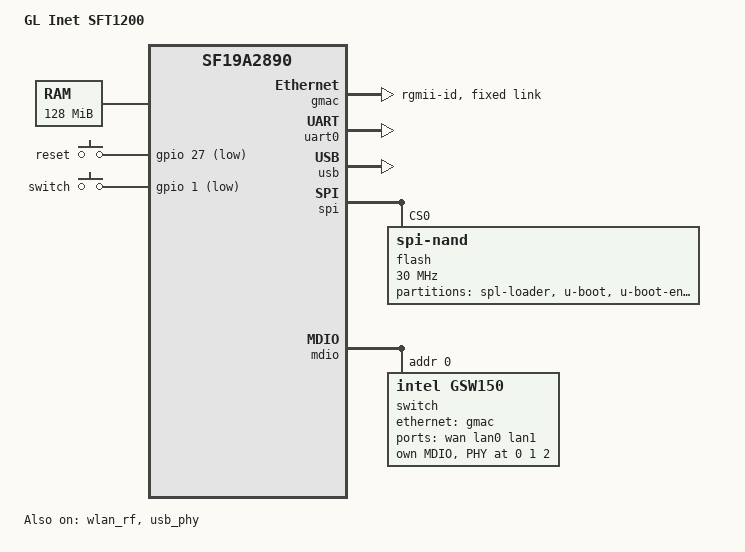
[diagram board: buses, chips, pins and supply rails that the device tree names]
/dts-v1/;
#include <dt-bindings/input/input.h>
#include <dt-bindings/leds/common.h>
#include "sf19a2890.dtsi"

/ {
	model = "GL Inet SFT1200";
	compatible = "glinet,sft1200", "siflower,sf19a2890";

	chosen {
		stdout-path = "serial0:115200n8";
	};

	memory@0 {
		device_type = "memory";
		reg = <0x0 0x8000000>;
	};

	keys {
		compatible = "gpio-keys";

		reset {
			label = "reset";
			gpios = <&gpio 27 GPIO_ACTIVE_LOW>;
			linux,code = <KEY_RESTART>;
		};

		switch {
			label = "switch";
			gpios = <&gpio 1 GPIO_ACTIVE_LOW>;
		};
	};
};

&gmac {
	nvmem-cells = <&macaddr_factory_0 1>;
	nvmem-cell-names = "mac-address";

	status = "okay";
	phy-mode = "rgmii-id";
	snps,ps-speed = <1000>;
	fixed-link {
		speed = <1000>;
		full-duplex;
		pause;
	};
};

&wlan_rf {
	status = "okay";
};

&uart0 {
	status = "okay";
};

&usb {
	status = "okay";
};

&usb_phy {
	status = "okay";
};

&spi {
	status = "okay";
	flash@0 {
		compatible = "jedec,spi-nand";
		reg = <0>;
		spi-max-frequency = <30000000>;

		#address-cells = <1>;
		#size-cells = <1>;

		partitions {
			compatible = "fixed-partitions";
			#address-cells = <1>;
			#size-cells = <1>;

			partition@0 {
				label = "spl-loader";
				reg = <0x0 0x20000>; /* 128k */
				read-only;
			};

			partition@20000 {
				label = "u-boot";
				reg = <0x20000 0x60000>; /* 384k */
			};

			partition@80000 {
				label = "u-boot-env";
				reg = <0x80000 0x20000>; /* 128k */
			};

			partition@a0000 {
				label = "factory";
				reg = <0xa0000 0x20000>; /* 128k */

				nvmem-layout {
					compatible = "fixed-layout";
					#address-cells = <1>;
					#size-cells = <1>;

					macaddr_factory_0: macaddr@0 {
						reg = <0x0 0x6>;
						#nvmem-cell-cells = <1>;
					};

					macaddr_factory_400: macaddr@400 {
						compatible = "mac-base";
						reg = <0x400 0x6>;
						#nvmem-cell-cells = <1>;
					};
				};
			};

			partition@c0000 {
				label = "firmware";
				reg = <0xc0000 0x7e00000>; /* 640k- */
			};

		};
	};
};

&mdio {
	#address-cells = <1>;
	#size-cells = <0>;

	switch@1f {
		compatible = "intel,gsw150";
		reg = <0x00>;
		status = "okay";

		ports {
			#address-cells = <1>;
			#size-cells = <0>;

			port@0 {
				reg = <0>;
				label = "wan";
				phy-handle = <&switchphy0>;
				phy-mode = "internal";
			};

			port@1 {
				reg = <1>;
				label = "lan0";
				phy-handle = <&switchphy1>;
				phy-mode = "internal";
			};

			port@2 {
				reg = <2>;
				label = "lan1";
				phy-handle = <&switchphy2>;
				phy-mode = "internal";
			};

			port@5 {
				reg = <5>;
				phy-mode = "rgmii-id";

				ethernet = <&gmac>;

				fixed-link {
					speed = <1000>;
					full-duplex;
				};
			};
		};

		mdio {
			#address-cells = <1>;
			#size-cells = <0>;

			switchphy0: ethernet-phy@0 {
				reg = <0>;

				leds {
					#address-cells = <1>;
					#size-cells = <0>;

					led@0 {
						reg = <0>;
						color = <LED_COLOR_ID_GREEN>;
						function = LED_FUNCTION_LAN;
					};
				};
			};

			switchphy1: ethernet-phy@1 {
				reg = <1>;

				leds {
					#address-cells = <1>;
					#size-cells = <0>;

					led@0 {
						reg = <0>;
						color = <LED_COLOR_ID_GREEN>;
						function = LED_FUNCTION_LAN;
					};
				};
			};

			switchphy2: ethernet-phy@2 {
				reg = <2>;

				leds {
					#address-cells = <1>;
					#size-cells = <0>;

					led@0 {
						reg = <0>;
						color = <LED_COLOR_ID_GREEN>;
						function = LED_FUNCTION_LAN;
					};
				};
			};
		};
	};
};
